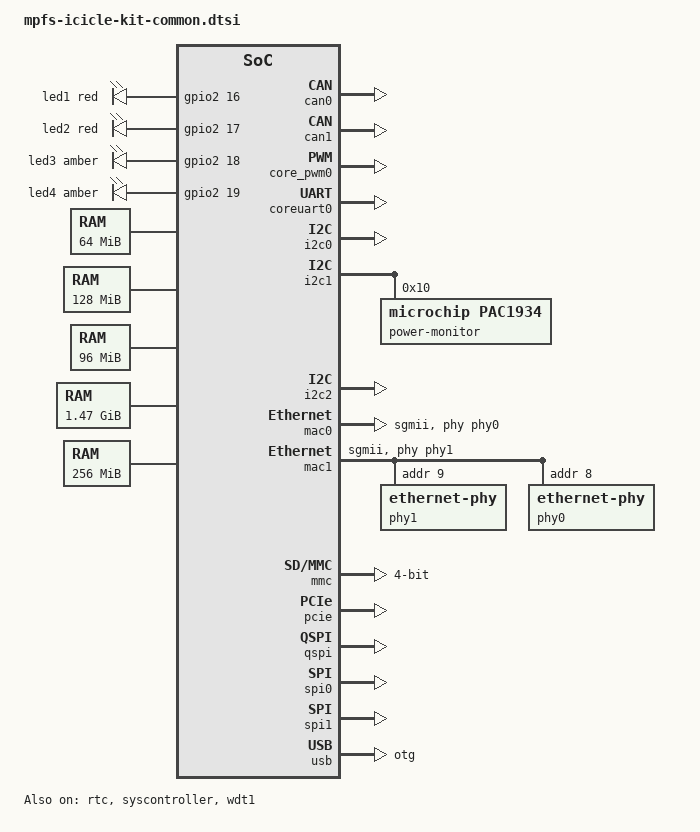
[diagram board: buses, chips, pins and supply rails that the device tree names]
// SPDX-License-Identifier: (GPL-2.0 OR MIT)
/* Copyright (c) 2025 Microchip Technology Inc */

/dts-v1/;

#include "mpfs.dtsi"
#include "mpfs-icicle-kit-fabric.dtsi"
#include <dt-bindings/gpio/gpio.h>
#include <dt-bindings/leds/common.h>

/ {
	#address-cells = <2>;
	#size-cells = <2>;

	soc {
		dma-ranges = <0x14 0x0 0x0 0x80000000 0x0 0x4000000>,
			     <0x14 0x4000000 0x0 0xc4000000 0x0 0x6000000>,
			     <0x14 0xa000000 0x0 0x8a000000 0x0 0x8000000>,
			     <0x14 0x12000000 0x14 0x12000000 0x0 0x10000000>,
			     <0x14 0x22000000 0x10 0x22000000 0x0 0x5e000000>;
	};

	aliases {
		ethernet0 = &mac1;
		serial0 = &mmuart0;
		serial1 = &mmuart1;
		serial2 = &mmuart2;
		serial3 = &mmuart3;
		serial4 = &mmuart4;
		serial5 = &coreuart0;
	};

	chosen {
		stdout-path = "serial1:115200n8";
	};

	leds {
		compatible = "gpio-leds";

		led-1 {
			gpios = <&gpio2 16 GPIO_ACTIVE_HIGH>;
			color = <LED_COLOR_ID_RED>;
			label = "led1";
		};

		led-2 {
			gpios = <&gpio2 17 GPIO_ACTIVE_HIGH>;
			color = <LED_COLOR_ID_RED>;
			label = "led2";
		};

		led-3 {
			gpios = <&gpio2 18 GPIO_ACTIVE_HIGH>;
			color = <LED_COLOR_ID_AMBER>;
			label = "led3";
		};

		led-4 {
			gpios = <&gpio2 19 GPIO_ACTIVE_HIGH>;
			color = <LED_COLOR_ID_AMBER>;
			label = "led4";
		};
	};

	kernel: memory@80000000 {
		device_type = "memory";
		reg = <0x0 0x80000000 0x0 0x4000000>;
	};

	ddr_cached_low: memory@8a000000 {
		device_type = "memory";
		reg = <0x0 0x8a000000 0x0 0x8000000>;
	};

	ddr_non_cached_low: memory@c4000000 {
		device_type = "memory";
		reg = <0x0 0xc4000000 0x0 0x6000000>;
	};

	ddr_cached_high: memory@1022000000 {
		device_type = "memory";
		reg = <0x10 0x22000000 0x0 0x5e000000>;
	};

	ddr_non_cached_high: memory@1412000000 {
		device_type = "memory";
		reg = <0x14 0x12000000 0x0 0x10000000>;
	};

	reserved-memory {
		#address-cells = <2>;
		#size-cells = <2>;
		ranges;

		hss: hss-buffer@103fc00000 {
			compatible = "shared-dma-pool";
			reg = <0x10 0x3fc00000 0x0 0x400000>;
			no-map;
		};

		dma_non_cached_low: non-cached-low-buffer {
			compatible = "shared-dma-pool";
			size = <0x0 0x4000000>;
			no-map;
			alloc-ranges = <0x0 0xc4000000 0x0 0x4000000>;
		};

		dma_non_cached_high: non-cached-high-buffer {
			compatible = "shared-dma-pool";
			size = <0x0 0x10000000>;
			no-map;
			linux,dma-default;
			alloc-ranges = <0x14 0x12000000 0x0 0x10000000>;
		};

		fabricbuf0ddrc: buffer@88000000 {
			compatible = "shared-dma-pool";
			reg = <0x0 0x88000000 0x0 0x2000000>;
			no-map;
		};

		fabricbuf1ddrnc: buffer@c8000000 {
			compatible = "shared-dma-pool";
			reg = <0x0 0xc8000000 0x0 0x2000000>;
			no-map;
		};

		fabricbuf2ddrncwcb: buffer@d8000000 {
			compatible = "shared-dma-pool";
			reg = <0x0 0xd8000000 0x0 0x2000000>;
			no-map;
		};
	};

	udmabuf0 {
		compatible = "ikwzm,u-dma-buf";
		device-name = "udmabuf-ddr-c0";
		minor-number = <0>;
		size = <0x0 0x2000000>;
		memory-region = <&fabricbuf0ddrc>;
		sync-mode = <3>;
	};

	udmabuf1 {
		compatible = "ikwzm,u-dma-buf";
		device-name = "udmabuf-ddr-nc0";
		minor-number = <1>;
		size = <0x0 0x2000000>;
		memory-region = <&fabricbuf1ddrnc>;
		sync-mode = <3>;
	};

	udmabuf2 {
		compatible = "ikwzm,u-dma-buf";
		device-name = "udmabuf-ddr-nc-wcb0";
		minor-number = <2>;
		size = <0x0 0x2000000>;
		memory-region = <&fabricbuf2ddrncwcb>;
		sync-mode = <3>;
	};
};

/*
 * The label can0 represents CAN_0 in the MSS configurator which is CAN2
 * in the icicle kit schematic and on the icicle kit the can0 pins are
 * routed to J27 header.
 * The label can1 represents CAN_1 in the MSS configurator which is CAN1
 * in the icicle kit schematic and on the icicle kit the can1 pins are
 * routed to J25 header.
 */
&can0 {
	status = "okay";
};

&can1 {
	status = "okay";
};

&core_pwm0 {
	status = "okay";
};

&coreuart0 {
	status = "okay";
};

&fpgadma {
	status = "okay";
};

&fpgalsram {
	status = "okay";
};

&gpio2 {
	status = "okay";
};

&i2c0 {
	status = "okay";
};

&i2c1 {
	status = "okay";

	power-monitor@10 {
		compatible = "microchip,pac1934";
		reg = <0x10>;

		#address-cells = <1>;
		#size-cells = <0>;

		channel@1 {
			reg = <0x1>;
			shunt-resistor-micro-ohms = <10000>;
			label = "VDDREG";
		};

		channel@2 {
			reg = <0x2>;
			shunt-resistor-micro-ohms = <10000>;
			label = "VDDA25";
		};

		channel@3 {
			reg = <0x3>;
			shunt-resistor-micro-ohms = <10000>;
			label = "VDD25";
		};

		channel@4 {
			reg = <0x4>;
			shunt-resistor-micro-ohms = <10000>;
			label = "VDDA_REG";
		};
	};
};

&i2c2 {
	status = "okay";
};

&mac0 {
	dma-noncoherent;
	status = "okay";
	phy-mode = "sgmii";
	phy-handle = <&phy0>;
};

&mac1 {
	dma-noncoherent;
	status = "okay";
	phy-mode = "sgmii";
	phy-handle = <&phy1>;

	phy1: ethernet-phy@9 {
		reg = <9>;
	};

	phy0: ethernet-phy@8 {
		reg = <8>;
	};
};

&mbox {
	status = "okay";
};

&mmc {
	dma-noncoherent;
	bus-width = <4>;
	disable-wp;
	cap-sd-highspeed;
	cap-mmc-highspeed;
	mmc-ddr-1_8v;
	mmc-hs200-1_8v;
	sd-uhs-sdr12;
	sd-uhs-sdr25;
	sd-uhs-sdr50;
	sd-uhs-sdr104;
	status = "okay";
};

&mmuart1 {
	status = "okay";
};

&mmuart2 {
	status = "okay";
};

&mmuart3 {
	status = "okay";
};

&mmuart4 {
	status = "okay";
};

&pcie {
	status = "okay";
};

&qspi {
	status = "okay";
};

&refclk {
	clock-frequency = <125000000>;
};

&refclk_ccc {
	clock-frequency = <50000000>;
};

&rtc {
	status = "okay";
};

&spi0 {
	status = "okay";
};

&spi1 {
	status = "okay";
};

&syscontroller {
	status = "okay";
};

&syscontroller_qspi {
	/*
	 * The flash *is* there, but Icicle kits that have engineering sample
	 * silicon (write?) access to this flash to non-functional. The system
	 * controller itself can actually access it, but the MSS cannot write
	 * an image there. Instantiating a coreQSPI in the fabric & connecting
	 * it to the flash instead should work though. Pre-production or later
	 * silicon does not have this issue.
	 */
	status = "disabled";

	sys_ctrl_flash: flash@0 { // MT25QL01GBBB8ESF-0SIT
		compatible = "jedec,spi-nor";
		#address-cells = <1>;
		#size-cells = <1>;
		spi-max-frequency = <20000000>;
		spi-rx-bus-width = <1>;
		reg = <0>;
	};
};

&usb {
	dma-noncoherent;
	status = "okay";
	dr_mode = "otg";
};

&wdt1 {
	status = "okay";
};
